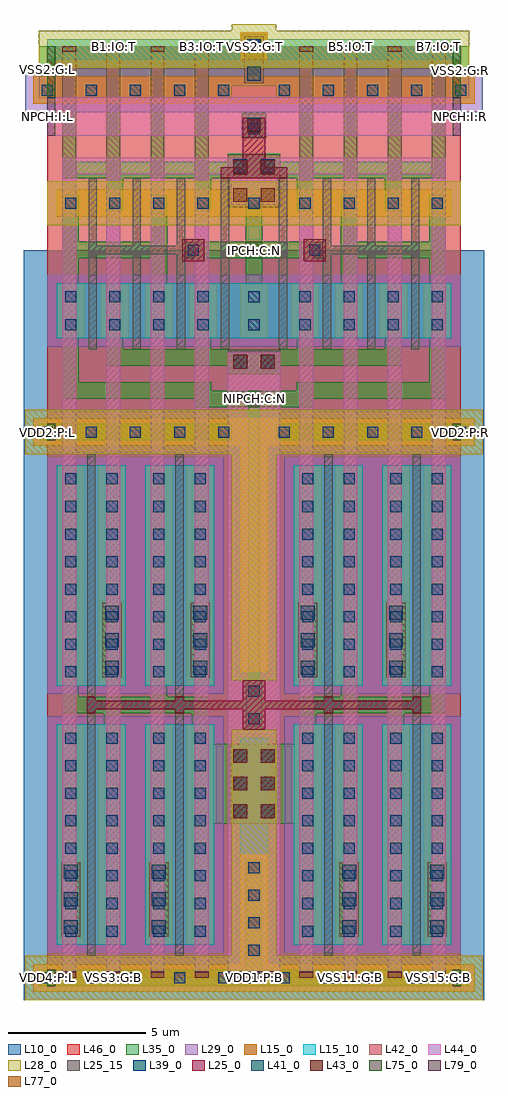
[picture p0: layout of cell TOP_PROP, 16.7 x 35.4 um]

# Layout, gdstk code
from math import pi, radians
import gdstk
lib = gdstk.Library(unit=1e-6, precision=1e-09)
def R(c, l, rs):  # rectangles x0, y0, x1, y1
    for r in rs: c.add(gdstk.rectangle(r[:2], r[2:], *l))
def A(c, l, x, y, w, h, nx, ny, dx, dy):  # array of equal rectangles
    R(c, l, [(x+i*dx, y+j*dy, x+i*dx+w, y+j*dy+h) for i in range(nx) for j in range(ny)])
def P(c, l, *ps):  # polygons
    for p in ps: c.add(gdstk.Polygon(p, *l))
L10_0 = (10, 0)
L15_0 = (15, 0)
L15_10 = (15, 10)
L25_0 = (25, 0)
L25_15 = (25, 15)
L28_0 = (28, 0)
L29_0 = (29, 0)
L35_0 = (35, 0)
L39_0 = (39, 0)
L41_0 = (41, 0)
L42_0 = (42, 0)
L43_0 = (43, 0)
L44_0 = (44, 0)
L46_0 = (46, 0)
L75_0 = (75, 0)
L77_0 = (77, 0)
L79_0 = (79, 0)

ctza = lib.new_cell('CTZA')
R(ctza, L15_0, [(0,0,1,1)])
R(ctza, L35_0, [(0.2,0.2,0.8,0.8)])
R(ctza, L39_0, [(0.3,0.3,0.7,0.7)])

ro8prch0_mosp = lib.new_cell('RO8PRCH0_MOSP')
R(ro8prch0_mosp, L10_0, [(0,0.5,4.9,11.2)])
R(ro8prch0_mosp, L15_10, [(1.2,1.2,3.7,9.2)])
R(ro8prch0_mosp, L25_15, [(2.3,0.8,2.6,9.6)])
R(ro8prch0_mosp, L29_0, [(0.85,0.9,4.05,9.5)])
R(ro8prch0_mosp, L35_0, [(1.4,1.4,2,9), (2.9,1.4,3.5,9)])
r = gdstk.Reference(ctza, (1.2,1.2)); r.repetition = gdstk.Repetition(2, 8, v1=(1.5,0), v2=(0,1)); ro8prch0_mosp.add(r)

ctp1 = lib.new_cell('CTP1')
R(ctp1, L25_0, [(0,0,0.8,0.8)])
R(ctp1, L35_0, [(0.1,0.1,0.7,0.7)])
R(ctp1, L39_0, [(0.2,0.2,0.6,0.6)])

prn = lib.new_cell('PRN')
R(prn, L28_0, [(-0.3,-0.3,1.3,1.3)])
prn.add(gdstk.Reference(ctza, (0,0)))

ro8prch0_2mosp = lib.new_cell('RO8PRCH0_2MOSP')
R(ro8prch0_2mosp, L10_0, [(0,0,8.35,10.7)])
R(ro8prch0_2mosp, L15_0, [(0.35,9.4,8.35,10.4)])
P(ro8prch0_2mosp, L25_0, [(2.3,-0.15),(2.3,0.3),(2.6,0.3),(2.6,0.15),(5.5,0.15),(5.5,0.3),(5.8,0.3),(5.8,0.15),(8.35,0.15),(8.35,-0.15)])
R(ro8prch0_2mosp, L28_0, [(8.05,9.1,8.35,10.7)])
R(ro8prch0_2mosp, L35_0, [(0.55,9.6,7.55,10.2)])
A(ro8prch0_2mosp, L42_0, 1.4, 0, 0.5, 9.9, 4, 1, 1.6, 0)
A(ro8prch0_2mosp, L44_0, 1.4, 0, 0.5, 9.9, 4, 1, 1.6, 0)
R(ro8prch0_2mosp, L44_0, [(7.4,0,8.35,9.9)])
R(ro8prch0_2mosp, L46_0, [(0.85,0,8.35,9.9)])
ro8prch0_2mosp.add(gdstk.Reference(ro8prch0_mosp, (0,-0.5)))
ro8prch0_2mosp.add(gdstk.Reference(ro8prch0_mosp, (3.2,-0.5)))
r = gdstk.Reference(ctp1, (7.95,0.9), x_reflection=True); r.repetition = gdstk.Repetition(1, 2, v1=(0,0), v2=(0,-1)); ro8prch0_2mosp.add(r)
r = gdstk.Reference(prn, (0.35,9.4)); r.repetition = gdstk.Repetition(5, 1, v1=(1.6,0), v2=(0,0)); ro8prch0_2mosp.add(r)

v12 = lib.new_cell('V12')
R(v12, L35_0, [(0,0,0.9,0.9)])
R(v12, L41_0, [(0.2,0.2,0.7,0.7)])
R(v12, L42_0, [(0.1,0.1,0.8,0.8)])

v23 = lib.new_cell('V23')
R(v23, L42_0, [(0,0,0.9,0.9)])
R(v23, L43_0, [(0.2,0.2,0.7,0.7)])
R(v23, L44_0, [(0.1,0.1,0.8,0.8)])

ro8prch0_4mosp = lib.new_cell('RO8PRCH0_4MOSP')
R(ro8prch0_4mosp, L15_0, [(7,11.1,8,19.3)])
R(ro8prch0_4mosp, L15_10, [(7,4.5,8,8.7)])
R(ro8prch0_4mosp, L28_0, [(6.7,4.8,8.3,9), (6.7,10.8,8.3,19)])
R(ro8prch0_4mosp, L35_0, [(0.4,1.4,1.3,4.3), (3.6,1.4,4.5,4.3), (10.5,1.4,11.4,4.3), (13.7,1.4,14.6,4.3), (5.85,5.6,9.15,8.5), (1.9,10.8,2.8,13.7), (5.1,10.8,6,13.7), (9,10.8,9.9,13.7), (12.2,10.8,13.1,13.7)])
P(ro8prch0_4mosp, L35_0, [(0.55,10.8),(0.55,9.6),(2.05,9.6),(2.05,9),(2.65,9),(2.65,9.6),(5.25,9.6),(5.25,9),(5.85,9),(5.85,10.2),(4.35,10.2),(4.35,10.8),(3.75,10.8),(3.75,10.2),(1.15,10.2),(1.15,10.8)],
  [(6.7,-0.3),(6.7,0.3),(7.2,0.3),(7.2,4.3),(7.8,4.3),(7.8,0.3),(8.3,0.3),(8.3,-0.3)],
  [(7.2,9.1),(7.2,10.7),(7.3,10.7),(7.3,19.8),(7.7,19.8),(7.7,10.7),(7.8,10.7),(7.8,9.1)],
  [(14.45,10.8),(14.45,9.6),(12.95,9.6),(12.95,9),(12.35,9),(12.35,9.6),(9.75,9.6),(9.75,9),(9.15,9),(9.15,10.2),(10.65,10.2),(10.65,10.8),(11.25,10.8),(11.25,10.2),(13.85,10.2),(13.85,10.8)])
R(ro8prch0_4mosp, L42_0, [(0.5,1.5,1.2,4.2), (3.7,1.5,4.4,4.2), (10.6,1.5,11.3,4.2), (13.8,1.5,14.5,4.2), (6.55,5.6,8.45,8.5), (2,10.9,2.7,13.6), (5.2,10.9,5.9,13.6), (9.1,10.9,9.8,13.6), (12.3,10.9,13,13.6)])
ro8prch0_4mosp.add(gdstk.Reference(ro8prch0_2mosp, (15.85,9.9), rotation=pi, x_reflection=True))
ro8prch0_4mosp.add(gdstk.Reference(ro8prch0_2mosp, (15.85,9.9), rotation=pi))
ro8prch0_4mosp.add(gdstk.Reference(ro8prch0_2mosp, (-0.85,9.9)))
ro8prch0_4mosp.add(gdstk.Reference(ro8prch0_2mosp, (-0.85,9.9), x_reflection=True))
r = gdstk.Reference(v12, (13.7,1.4)); r.repetition = gdstk.Repetition(1, 3, v1=(0,0), v2=(0,1)); ro8prch0_4mosp.add(r)
r = gdstk.Reference(v12, (10.5,1.4)); r.repetition = gdstk.Repetition(1, 3, v1=(0,0), v2=(0,1)); ro8prch0_4mosp.add(r)
r = gdstk.Reference(v12, (12.2,10.8)); r.repetition = gdstk.Repetition(1, 3, v1=(0,0), v2=(0,1)); ro8prch0_4mosp.add(r)
r = gdstk.Reference(v12, (9,10.8)); r.repetition = gdstk.Repetition(1, 3, v1=(0,0), v2=(0,1)); ro8prch0_4mosp.add(r)
r = gdstk.Reference(v12, (0.4,1.4)); r.repetition = gdstk.Repetition(1, 3, v1=(0,0), v2=(0,1)); ro8prch0_4mosp.add(r)
r = gdstk.Reference(v12, (3.6,1.4)); r.repetition = gdstk.Repetition(1, 3, v1=(0,0), v2=(0,1)); ro8prch0_4mosp.add(r)
r = gdstk.Reference(v12, (1.9,10.8)); r.repetition = gdstk.Repetition(1, 3, v1=(0,0), v2=(0,1)); ro8prch0_4mosp.add(r)
r = gdstk.Reference(v12, (5.1,10.8)); r.repetition = gdstk.Repetition(1, 3, v1=(0,0), v2=(0,1)); ro8prch0_4mosp.add(r)
r = gdstk.Reference(v12, (6.55,5.6)); r.repetition = gdstk.Repetition(2, 3, v1=(1,0), v2=(0,1)); ro8prch0_4mosp.add(r)
r = gdstk.Reference(v23, (6.55,5.6)); r.repetition = gdstk.Repetition(2, 3, v1=(1,0), v2=(0,1)); ro8prch0_4mosp.add(r)
r = gdstk.Reference(prn, (7,-0.5)); r.repetition = gdstk.Repetition(1, 5, v1=(0,0), v2=(0,1)); ro8prch0_4mosp.add(r)

ro8prch_inv_base = lib.new_cell('RO8PRCH_INV_BASE')
R(ro8prch_inv_base, L10_0, [(-0.85,-8.3,4.15,-0.9)])
R(ro8prch_inv_base, L15_0, [(0.35,0.3,2.95,1.3)])
R(ro8prch_inv_base, L15_10, [(0.35,-4.1,2.95,-2.1)])
R(ro8prch_inv_base, L25_15, [(1.5,-4.5,1.8,1.7)])
R(ro8prch_inv_base, L28_0, [(0,0,3.3,1.6)])
R(ro8prch_inv_base, L29_0, [(0,-4.4,3.3,-1.8)])
ro8prch_inv_base.add(gdstk.Reference(ctza, (0.35,0.3)))
r = gdstk.Reference(ctza, (0.35,-4.1)); r.repetition = gdstk.Repetition(1, 2, v1=(0,0), v2=(0,1)); ro8prch_inv_base.add(r)

prp = lib.new_cell('PRP')
R(prp, L29_0, [(-0.3,-0.3,1.3,1.3)])
prp.add(gdstk.Reference(ctza, (0,0)))

ro8prch_demi_inv = lib.new_cell('RO8PRCH_DEMI_INV')
R(ro8prch_demi_inv, L15_0, [(-0.5,-0.8,7.5,0.2), (-0.5,11.6,7.5,12.6)])
R(ro8prch_demi_inv, L15_10, [(0,13.2,7,13.95)])
P(ro8prch_demi_inv, L25_0, [(6.3,8.9),(6.3,9.3),(7.1,9.3),(7.1,11.1),(7.9,11.1),(7.9,9.3),(8.7,9.3),(8.7,8.9)])
R(ro8prch_demi_inv, L25_15, [(1.8,6.15,4.7,6.45)])
R(ro8prch_demi_inv, L28_0, [(7.2,-1.1,7.5,0.5), (-0.3,12.9,6.7,14.25)])
R(ro8prch_demi_inv, L29_0, [(7.2,11.3,7.5,12.9)])
R(ro8prch_demi_inv, L35_0, [(-0.3,-0.6,6.7,0), (3.75,9.5,4.25,11.8), (5.35,9.5,5.85,11.8), (7.05,12.25,7.95,14.15)])
P(ro8prch_demi_inv, L35_0, [(2.15,8.3),(2.15,9.5),(6.55,9.5),(6.55,9.8),(7.5,9.8),(7.5,8.9),(5.95,8.9),(5.95,8.3),(5.35,8.3),(5.35,8.9),(2.75,8.9),(2.75,8.3)],
  [(7.2,3.3),(7.2,6),(5,6),(5,6.6),(7.2,6.6),(7.2,8.3),(7.8,8.3),(7.8,3.3)],
  [(2.15,11.8),(2.15,8.9),(3.8,8.9),(3.8,9.5),(2.65,9.5),(2.65,11.8)],
  [(0.55,11.8),(0.55,8.9),(2.15,8.9),(2.15,9.5),(1.05,9.5),(1.05,11.8)],
  [(2.15,2.1),(2.15,4.9),(2.75,4.9),(2.75,2.7),(5.35,2.7),(5.35,4.9),(5.95,4.9),(5.95,2.7),(7.5,2.7),(7.5,1.8),(6.55,1.8),(6.55,2.1)],
  [(0.55,0.9),(0.55,8.3),(1.15,8.3),(1.15,6.6),(3.75,6.6),(3.75,8.3),(4.35,8.3),(4.35,3.3),(3.75,3.3),(3.75,6),(1.15,6),(1.15,1.5),(5.95,1.5),(5.95,1.2),(7.5,1.2),(7.5,-0.3),(7.3,-0.3),(7.3,0.6),(5.35,0.6),(5.35,0.9)],
  [(-0.3,11.8),(-0.3,13.7),(7.5,13.7),(7.5,12.25),(6.7,12.25),(6.7,11.8)])
A(ro8prch_demi_inv, L42_0, 0.55, -0.3, 0.5, 14, 4, 1, 1.6, 0)
R(ro8prch_demi_inv, L42_0, [(6.55,1.8,8.45,2.7), (6.55,7.85,8.45,9.75), (7.15,12.35,7.85,14.05)])
A(ro8prch_demi_inv, L44_0, 2.15, -0.3, 0.5, 9.95, 3, 1, 1.6, 0)
R(ro8prch_demi_inv, L44_0, [(6.55,-0.3,7.5,2.6), (0,10.45,7.5,11.85)])
P(ro8prch_demi_inv, L44_0, [(0.55,-0.3),(0.55,9.65),(7.5,9.65),(7.5,7.95),(6.65,7.95),(6.65,9.05),(1.05,9.05),(1.05,-0.3)])
R(ro8prch_demi_inv, L46_0, [(0,-0.3,7.5,13.7)])
ro8prch_demi_inv.add(gdstk.Reference(ctza, (7,7.5)))
ro8prch_demi_inv.add(gdstk.Reference(ctp1, (4.9,5.9)))
ro8prch_demi_inv.add(gdstk.Reference(ctp1, (7.1,10.3)))
ro8prch_demi_inv.add(gdstk.Reference(prn, (7,13.2)))
ro8prch_demi_inv.add(gdstk.Reference(v12, (7.05,12.25)))
ro8prch_demi_inv.add(gdstk.Reference(v12, (6.55,8.9)))
ro8prch_demi_inv.add(gdstk.Reference(v12, (7.05,10.4)))
ro8prch_demi_inv.add(gdstk.Reference(v12, (7.05,13.25)))
ro8prch_demi_inv.add(gdstk.Reference(v12, (6.55,1.8)))
ro8prch_demi_inv.add(gdstk.Reference(v23, (7.05,10.35)))
ro8prch_demi_inv.add(gdstk.Reference(v23, (6.55,1.8)))
r = gdstk.Reference(ro8prch_inv_base, (0,7.2)); r.repetition = gdstk.Repetition(4, 1, v1=(1.6,0), v2=(0,0)); ro8prch_demi_inv.add(r)
r = gdstk.Reference(prn, (-0.5,-0.8)); r.repetition = gdstk.Repetition(5, 1, v1=(1.6,0), v2=(0,0)); ro8prch_demi_inv.add(r)
r = gdstk.Reference(v23, (6.55,7.85)); r.repetition = gdstk.Repetition(1, 2, v1=(0,0), v2=(0,1)); ro8prch_demi_inv.add(r)
r = gdstk.Reference(ctza, (7,3.1)); r.repetition = gdstk.Repetition(1, 2, v1=(0,0), v2=(0,1)); ro8prch_demi_inv.add(r)
r = gdstk.Reference(prp, (-0.5,11.6)); r.repetition = gdstk.Repetition(5, 1, v1=(1.6,0), v2=(0,0)); ro8prch_demi_inv.add(r)

ro8prch_inv = lib.new_cell('RO8PRCH_INV')
ro8prch_inv.add(gdstk.Reference(ro8prch_demi_inv, (15,0), rotation=pi, x_reflection=True))
ro8prch_inv.add(gdstk.Reference(ro8prch_demi_inv, (0,0)))

top_prop = lib.new_cell('TOP_PROP')
R(top_prop, L75_0, [(0,-0.3,0.3,0.3), (14.7,-0.3,15,0.3), (0,19.5,0.3,20.1), (14.7,19.5,15,20.1), (7.3,20.7,7.7,21.3), (7.2,26.1,7.8,26.7), (0,31.9,0.3,33.8), (14.7,31.9,15,33.8)])
A(top_prop, L77_0, 0.55, 0, 0.5, 0.2, 4, 2, 1.6, 33.6)
A(top_prop, L77_0, 9.15, 0, 0.5, 0.2, 4, 2, 1.6, 33.6)
R(top_prop, L77_0, [(7.15,33.6,7.85,33.8)])
A(top_prop, L79_0, 0.55, 0, 0.5, 0.25, 4, 1, 1.6, 0)
A(top_prop, L79_0, 9.15, 0, 0.5, 0.25, 4, 1, 1.6, 0)
R(top_prop, L79_0, [(6.55,0,8.45,0.25), (0,30.55,0.3,31.95), (14.7,30.55,15,31.95)])
top_prop.add(gdstk.Reference(ro8prch0_4mosp, (0,0)))
top_prop.add(gdstk.Reference(ro8prch_inv, (0,20.1)))
top_prop.add(gdstk.Label('NPCH:I:R', (15,31.25), layer=80, texttype=0))
top_prop.add(gdstk.Label('NPCH:I:L', (0,31.25), layer=80, texttype=0))
top_prop.add(gdstk.Label('VDD1:P:B', (7.5,0), layer=80, texttype=0))
top_prop.add(gdstk.Label('VSS15:G:B', (14.2,0), layer=80, texttype=0))
top_prop.add(gdstk.Label('VSS13:G:B', (12.6,0), layer=80, texttype=0))
top_prop.add(gdstk.Label('VSS11:G:B', (11,0), layer=80, texttype=0))
top_prop.add(gdstk.Label('VSS9:G:B', (9.4,0), layer=80, texttype=0))
top_prop.add(gdstk.Label('VSS7:G:B', (5.6,0), layer=80, texttype=0))
top_prop.add(gdstk.Label('VSS3:G:B', (2.4,0), layer=80, texttype=0))
top_prop.add(gdstk.Label('VSS5:G:B', (4,0), layer=80, texttype=0))
top_prop.add(gdstk.Label('VSS1:G:B', (0.8,0), layer=80, texttype=0))
top_prop.add(gdstk.Label('B3:IO:T', (5.6,33.8), layer=78, texttype=0))
top_prop.add(gdstk.Label('B2:IO:T', (4,33.8), layer=78, texttype=0))
top_prop.add(gdstk.Label('B1:IO:T', (2.4,33.8), layer=78, texttype=0))
top_prop.add(gdstk.Label('B0:IO:T', (0.8,33.8), layer=78, texttype=0))
top_prop.add(gdstk.Label('B7:IO:T', (14.2,33.8), layer=78, texttype=0))
top_prop.add(gdstk.Label('B6:IO:T', (12.6,33.8), layer=78, texttype=0))
top_prop.add(gdstk.Label('B5:IO:T', (11,33.8), layer=78, texttype=0))
top_prop.add(gdstk.Label('B4:IO:T', (9.4,33.8), layer=78, texttype=0))
top_prop.add(gdstk.Label('VSS2:G:T', (7.5,33.8), layer=78, texttype=0))
top_prop.add(gdstk.Label('B3:IO:B', (5.6,0), layer=78, texttype=0))
top_prop.add(gdstk.Label('B2:IO:B', (4,0), layer=78, texttype=0))
top_prop.add(gdstk.Label('B1:IO:B', (2.4,0), layer=78, texttype=0))
top_prop.add(gdstk.Label('B0:IO:B', (0.8,0), layer=78, texttype=0))
top_prop.add(gdstk.Label('B7:IO:B', (14.2,0), layer=78, texttype=0))
top_prop.add(gdstk.Label('B6:IO:B', (12.6,0), layer=78, texttype=0))
top_prop.add(gdstk.Label('B5:IO:B', (11,0), layer=78, texttype=0))
top_prop.add(gdstk.Label('B4:IO:B', (9.4,0), layer=78, texttype=0))
top_prop.add(gdstk.Label('VSS2:G:L', (0,32.95), layer=76, texttype=0))
top_prop.add(gdstk.Label('VSS2:G:R', (15,32.9), layer=76, texttype=0))
top_prop.add(gdstk.Label('VDD4:P:R', (15,0), layer=76, texttype=0))
top_prop.add(gdstk.Label('VDD2:P:R', (15,19.8), layer=76, texttype=0))
top_prop.add(gdstk.Label('VDD2:P:L', (0,19.8), layer=76, texttype=0))
top_prop.add(gdstk.Label('VDD4:P:L', (0,0), layer=76, texttype=0))
top_prop.add(gdstk.Label('IPCH:C:N', (7.5,26.4), layer=76, texttype=0))
top_prop.add(gdstk.Label('NIPCH:C:N', (7.5,21), layer=76, texttype=0))

lib.write_gds('TOP_PROP.gds')
